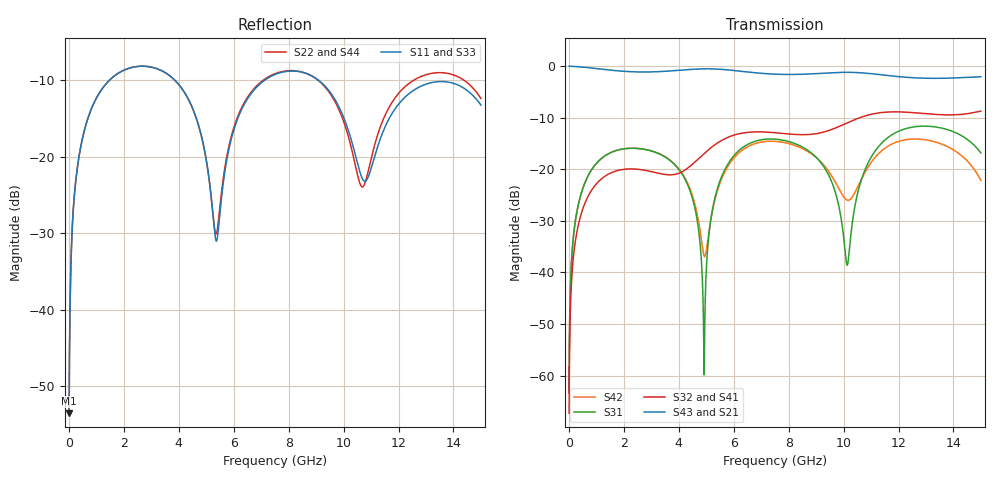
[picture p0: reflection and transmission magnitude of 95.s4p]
! Created with skrf 1.8.0 (http://scikit-rf.org).
# GHz S RI R 50.0
!freq ReS11 ImS11 ReS12 ImS12 ReS13 ImS13
! ReS14 ImS14
! ReS21 ImS21 ReS22 ImS22 ReS23 ImS23
! ReS24 ImS24
! ReS31 ImS31 ReS32 ImS32 ReS33 ImS33
! ReS34 ImS34
! ReS41 ImS41 ReS42 ImS42 ReS43 ImS43
! ReS44 ImS44
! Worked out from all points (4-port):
!   2499 points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, 5 MHz to 15 GHz, reference 50 ohm
!   strongest paths, dB at 5 MHz, 3.476 GHz, 7.19 GHz, 11.1 GHz, 15 GHz:
!     S43: 0.0, -1.0, -1.5, -1.5, -2.1
!     S21: 0.0, -1.0, -1.5, -1.5, -2.1
!     S32: -67.3, -21.0, -12.8, -9.2, -8.7
!     S41: -67.3, -21.0, -12.8, -9.2, -8.7
!     S31: -63.3, -17.5, -14.2, -16.8, -16.8
!     S42: -63.3, -17.5, -14.6, -18.0, -22.1
!   lowest |S11| = -53.6 dB at 5 MHz (marker M1), VSWR 1.00, Z = 50.2 + j0.127 ohm
!   |S11| at or under -10 dB: start of sweep to 1.466 GHz; 3.864 GHz to 7.117 GHz (3.253 GHz wide, 59.3 % of centre); 9.098 GHz to end of sweep
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0.005  0.00167 0.00127  0.9983 -0.00326  8.47e-05 0.00068  -8.22e-05 -0.000424
       0.9983 -0.00326  0.00167 0.00127  -8.22e-05 -0.000424  8.47e-05 0.00068
       8.47e-05 0.00068  -8.22e-05 -0.000424  0.00167 0.00127  0.9983 -0.00326
       -8.22e-05 -0.000424  8.47e-05 0.00068  0.9983 -0.00326  0.00167 0.00127
0.3126303  0.0249 0.0833  0.966 -0.2025  0.0117 0.0403  -0.0097 -0.0248
           0.966 -0.2025  0.0249 0.0833  -0.00971 -0.0248  0.0117 0.0403
           0.0117 0.0403  -0.00971 -0.0248  0.0249 0.0833  0.966 -0.2025
           -0.0097 -0.0248  0.0117 0.0403  0.966 -0.2025  0.0249 0.0833
1.569404  0.2794 0.1737  0.528 -0.7414  0.1341 0.0603  -0.0932 -0.00259
          0.528 -0.7414  0.2793 0.1737  -0.0933 -0.00248  0.1343 0.06
          0.1341 0.0603  -0.0933 -0.00248  0.2792 0.1737  0.5281 -0.7414
          -0.0932 -0.00259  0.1343 0.06  0.5281 -0.7414  0.2793 0.1736
4.9208  0.0534 -0.1014  -0.8851 -0.3171  -0.000996 -0.000222  -0.0445 0.135
        -0.8851 -0.3171  0.0551 -0.0987  -0.0429 0.1356  -0.0137 -0.00465
        -0.000996 -0.000222  -0.0429 0.1356  0.0539 -0.0998  -0.8853 -0.317
        -0.0445 0.135  -0.0137 -0.00465  -0.8853 -0.317  0.0536 -0.0979
6.202584  0.1229 0.1435  -0.8085 0.3828  0.1161 0.0998  0.1232 0.1838
          -0.8085 0.3828  0.13 0.1446  0.1253 0.1825  0.0987 0.107
          0.1161 0.0998  0.1253 0.1825  0.1244 0.1437  -0.8084 0.3826
          0.1232 0.1838  0.0987 0.107  -0.8084 0.3826  0.1294 0.1467
10.73572  0.0685 -0.0132  0.8463 0.1361  0.0276 0.0882  0.0462 -0.3226
          0.8463 0.1361  0.0644 0.00639  0.0395 -0.3235  -0.0297 0.084
          0.0276 0.0882  0.0395 -0.3235  0.0684 -0.0109  0.8461 0.1377
          0.0462 -0.3226  -0.0297 0.084  0.8461 0.1377  0.0633 0.00993
15  0.1895 -0.1083  -0.4584 -0.6422  0.00825 -0.1437  -0.285 0.2288
    -0.4584 -0.6422  0.1784 -0.1619  -0.2769 0.2405  0.0102 -0.0774
    0.00825 -0.1437  -0.2769 0.2405  0.1986 -0.1021  -0.4513 -0.6457
    -0.285 0.2288  0.0102 -0.0774  -0.4513 -0.6457  0.1802 -0.1695
